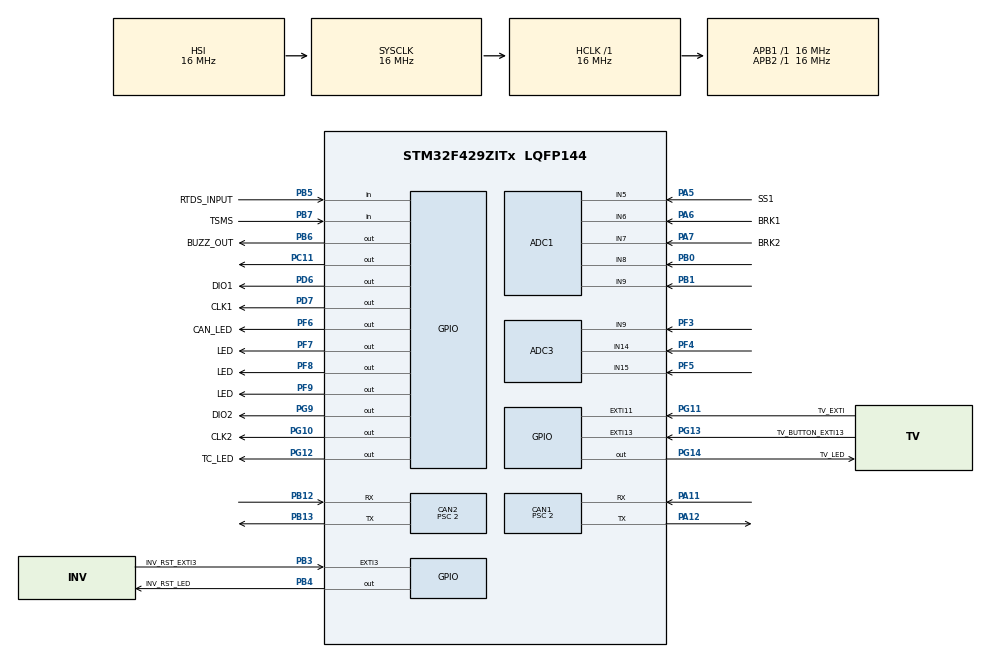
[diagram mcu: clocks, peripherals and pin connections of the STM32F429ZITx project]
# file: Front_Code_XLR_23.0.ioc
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ADC1.Channel-0\#ChannelRegularConversion=ADC_CHANNEL_5
ADC1.InjNumberOfConversion=0
ADC1.NbrOfConversionFlag=1
ADC1.Rank-0\#ChannelRegularConversion=1
ADC1.SamplingTime-0\#ChannelRegularConversion=ADC_SAMPLETIME_3CYCLES
ADC1.master=1
ADC3.Channel-0\#ChannelRegularConversion=ADC_CHANNEL_9
ADC3.NbrOfConversionFlag=1
ADC3.Rank-0\#ChannelRegularConversion=1
ADC3.SamplingTime-0\#ChannelRegularConversion=ADC_SAMPLETIME_3CYCLES
CAN1.AWUM=ENABLE
CAN1.BS1=CAN_BS1_11TQ
CAN1.BS2=CAN_BS2_4TQ
CAN1.CalculateBaudRate=500000
CAN1.CalculateTimeBit=2000
CAN1.CalculateTimeQuantum=125.0
CAN1.NART=ENABLE
CAN1.Prescaler=2
CAN2.AWUM=ENABLE
CAN2.BS1=CAN_BS1_11TQ
CAN2.BS2=CAN_BS2_4TQ
CAN2.CalculateBaudRate=500000
CAN2.CalculateTimeBit=2000
CAN2.CalculateTimeQuantum=125.0
CAN2.NART=ENABLE
CAN2.Prescaler=2
Mcu.Family=STM32F4
Mcu.Name=STM32F429ZITx
Mcu.Package=LQFP144
NVIC.CAN1_RX0_IRQn=true\:1\:0\:true\:false\:true\:true\:true\:true
NVIC.CAN1_RX1_IRQn=true\:1\:0\:true\:false\:true\:true\:true\:true
NVIC.CAN1_SCE_IRQn=true\:1\:0\:true\:false\:true\:true\:true\:true
NVIC.CAN2_RX0_IRQn=true\:0\:0\:false\:false\:true\:true\:true\:true
NVIC.CAN2_RX1_IRQn=true\:0\:0\:false\:false\:true\:true\:true\:true
NVIC.EXTI15_10_IRQn=true\:0\:0\:false\:false\:true\:true\:true\:true
NVIC.EXTI3_IRQn=true\:1\:0\:true\:false\:true\:true\:true\:true
NVIC.PriorityGroup=NVIC_PRIORITYGROUP_4
NVIC.TIM5_IRQn=true\:1\:0\:true\:false\:true\:true\:true\:true
NVIC.TIM6_DAC_IRQn=true\:0\:0\:true\:false\:true\:true\:true\:true
NVIC.TIM7_IRQn=true\:0\:0\:true\:false\:true\:true\:true\:true
PA11.Mode=CAN_Activate
PA11.Signal=CAN1_RX
PA12.Mode=CAN_Activate
PA12.Signal=CAN1_TX
PA5.GPIO_Label=SS1
PA5.Signal=ADCx_IN5
PA6.GPIO_Label=BRK1
PA6.Signal=ADCx_IN6
PA7.GPIO_Label=BRK2
PA7.Signal=ADCx_IN7
PB0.Signal=ADCx_IN8
PB1.Signal=ADCx_IN9
PB12.Mode=CAN_Activate
PB12.Signal=CAN2_RX
PB13.Mode=CAN_Activate
PB13.Signal=CAN2_TX
PB3.GPIO_Label=INV_RST_EXTI3
PB3.GPIO_PuPd=GPIO_PULLDOWN
PB3.Signal=GPXTI3
PB4.GPIO_Label=INV_RST_LED
PB4.Signal=GPIO_Output
PB5.GPIO_Label=RTDS_INPUT
PB5.Signal=GPIO_Input
PB6.GPIO_Label=BUZZ_OUT
PB6.GPIO_ModeDefaultOutputPP=GPIO_MODE_OUTPUT_PP
PB6.GPIO_PuPd=GPIO_PULLDOWN
PB6.Signal=GPIO_Output
PB7.GPIO_Label=TSMS
PB7.Signal=GPIO_Input
PC11.Signal=GPIO_Output
PD6.GPIO_Label=DIO1
PD6.Signal=GPIO_Output
PD7.GPIO_Label=CLK1
PD7.Signal=GPIO_Output
PF3.Mode=IN9
PF3.Signal=ADC3_IN9
PF4.Mode=IN14
PF4.Signal=ADC3_IN14
PF5.Mode=IN15
PF5.Signal=ADC3_IN15
PF6.GPIO_Label=CAN_LED
PF6.Signal=GPIO_Output
PF7.GPIO_Label=LED
PF7.Signal=GPIO_Output
PF8.GPIO_Label=LED
PF8.Signal=GPIO_Output
PF9.GPIO_Label=LED
PF9.Signal=GPIO_Output
PG10.GPIO_Label=CLK2
PG10.Signal=GPIO_Output
PG11.GPIO_Label=TV_EXTI
PG11.GPIO_PuPd=GPIO_PULLDOWN
PG11.Signal=GPXTI11
PG12.GPIO_Label=TC_LED
PG12.Signal=GPIO_Output
PG13.GPIO_Label=TV_BUTTON_EXTI13
PG13.GPIO_PuPd=GPIO_PULLDOWN
PG13.Signal=GPXTI13
PG14.GPIO_Label=TV_LED
PG14.Signal=GPIO_Output
PG9.GPIO_Label=DIO2
PG9.Signal=GPIO_Output
ProjectManager.HeapSize=0x200
ProjectManager.StackSize=0x400
ProjectManager.TargetToolchain=STM32CubeIDE
RCC.AHBFreq_Value=16000000
RCC.APB1Freq_Value=16000000
RCC.APB2Freq_Value=16000000
RCC.CortexFreq_Value=16000000
RCC.HSE_VALUE=25000000
RCC.HSI_VALUE=16000000
RCC.LSE_VALUE=32768
RCC.SYSCLKFreq_VALUE=16000000
RCC.VCOOutputFreq_Value=192000000
SH.ADCx_IN5.0=ADC1_IN5,IN5
SH.ADCx_IN6.0=ADC1_IN6,IN6
SH.ADCx_IN7.0=ADC1_IN7,IN7
SH.ADCx_IN8.0=ADC1_IN8,IN8
SH.ADCx_IN9.0=ADC1_IN9,IN9
TIM5.Period=49
TIM5.Prescaler=15999
TIM6.Period=40000
TIM6.Prescaler=799
TIM7.Period=40000
TIM7.Prescaler=39
VP_TIM5_VS_ClockSourceITR.Mode=TriggerSource_ITR0
VP_TIM6_VS_ClockSourceINT.Mode=Enable_Timer
VP_TIM7_VS_ClockSourceINT.Mode=Enable_Timer
board=custom

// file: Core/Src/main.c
/* USER CODE BEGIN Header */
/**
  ******************************************************************************
  * @file           : main.c
  * @brief          : Main program body
  ******************************************************************************
  * @attention
  *
  * Copyright (c) 2023 STMicroelectronics.
  * All rights reserved.
  *
  * This software is licensed under terms that can be found in the LICENSE file
  * in the root directory of this software component.
  * If no LICENSE file comes with this software, it is provided AS-IS.
  *
  ******************************************************************************
  */
/* USER CODE END Header */
#include "main.h"

ADC_HandleTypeDef hadc1;
ADC_HandleTypeDef hadc3;

CAN_HandleTypeDef hcan1;
CAN_HandleTypeDef hcan2;

TIM_HandleTypeDef htim5;
TIM_HandleTypeDef htim6;
TIM_HandleTypeDef htim7;

/* USER CODE BEGIN PV */
typedef struct {
	CAN_HandleTypeDef* hcan;
    uint32_t id;
    uint8_t data[8];
    uint8_t DLC;

} CanMessage;

CanMessage canMessageQueue[10]; //here you define the size of CAN message you want to send sequentially
uint8_t queueHead = 0;
uint8_t queueTail = 0;
/* USER CODE END PV */

void SystemClock_Config(void);
static void MX_GPIO_Init(void);
static void MX_ADC1_Init(void);
static void MX_ADC3_Init(void);
static void MX_CAN1_Init(void);
static void MX_CAN2_Init(void);
static void MX_TIM6_Init(void);
static void MX_TIM7_Init(void);
static void MX_TIM5_Init(void);
/* USER CODE BEGIN PFP */
void HAL_CAN_RxFifo0MsgPendingCallback(CAN_HandleTypeDef *hcanOne);
void HAL_CAN_RxFifo1MsgPendingCallback(CAN_HandleTypeDef *hcanTwo);
float map(uint16_t value, uint16_t min_val, uint16_t max_val, uint16_t offset);
void implausiblityCheck();
void softBSPD();
void CAN_Tx(CAN_HandleTypeDef* hcan, uint32_t id, uint8_t* data_tx);
void CAN_Start();
void CAN_Transmit_Messages();
void eq_CAN_Tx(CAN_HandleTypeDef* hcan, uint32_t id, uint8_t* data,uint8_t DLC);
void dq_CAN_Tx();
/* USER CODE END PFP */

/* USER CODE BEGIN 0 */
uint32_t ide;
uint32_t temp=0;

uint8_t rtds_temp;
uint8_t tsms = 0;// hard code

uint8_t rtds = 0;
int CNT=0;
int CNT_impl=0;
uint8_t rtds_temp_var=0;
uint8_t clearfault_temp_var=0;

uint8_t clearfault_left=0;//hard code
uint8_t clearfault_right=0;
int c1=0;

uint8_t soft_bspd=0;

uint8_t implausiblity = 0;
uint8_t ip_temp_var=0;
uint8_t temp_var_soft_bspd=0;

uint16_t adc_apps1 = 0, adc_apps2 = 0;
uint16_t range_adc_apps2[] = {1405, 3870};
uint16_t range_adc_apps1[] = {430, 1900};
//uint16_t range_adc_apps2[] = {1405, 3870};
//uint16_t apps_avg;
float soft_bspd_threshold_apps=25.0;;
float app1, app2,apps_avg,torque_demand;

uint16_t adc_brk1=0, adc_brk2=0 , FrontBrakePressure=0 , RearBrakePressure=0;
uint16_t brk_avg;
uint16_t soft_bspd_threshold_brk=1650;

uint16_t adc_steer_sens=0;
uint16_t adc_ir_sens=0;
uint16_t adc_damper_left=0;
uint16_t adc_damper_right=0;

float torque_commanded,torque_commanded_left,torque_commanded_right;
uint16_t Txdata_imp1[4],Txdata_imp2[4];
uint8_t Txdata_state[8];
uint8_t Txdata_inv_rst[8];
short Txdata_control[4];
uint8_t inv_transmit[8];

uint8_t tc=0;
uint8_t tv=0;
uint16_t torque_limit=40;
uint8_t left_inv_transmit[8];
uint8_t right_inv_transmit[8];

uint8_t a=0,b=0,a1=0;
float test=-69.1;

float kp;
float ki;
float steering_degree,steering_rad;
float op=0.0, oi=0;
float o=0.0;
float xvel, yvel;
float compfactor;
float wref=0,zgyro;
float error=0,error_i=0;
long ta=0;
long tb=0;
float k=-0.001; // understeering coeff
float k2=0.0;
float wref2=0.0;

int ishan=0;
CAN_RxHeaderTypeDef RxHeader;
uint8_t RxData[8];
/* USER CODE END 0 */

int main(void)
{

  /* MCU Configuration--------------------------------------------------------*/

  /* Reset of all peripherals, Initializes the Flash interface and the Systick. */
  HAL_Init();

  /* Configure the system clock */
  SystemClock_Config();

  /* Initialize all configured peripherals */
  MX_GPIO_Init();
  MX_ADC1_Init();
  MX_ADC3_Init();
  MX_CAN1_Init();
  MX_CAN2_Init();
  MX_TIM6_Init();
  MX_TIM7_Init();
  MX_TIM5_Init();
  /* USER CODE BEGIN 2 */

 // commenting it to remove can
  CAN_Start();
  HAL_TIM_Base_Start_IT(&htim5);
  /* USER CODE END 2 */

  /* Infinite loop */
  while (1)
  {

    /* USER CODE BEGIN 3 */
	//xvel=4;
	adc_apps1 = ADC_Read(&hadc1, ADC_CHANNEL_8);
	adc_apps2 = ADC_Read(&hadc1, ADC_CHANNEL_9);
	adc_brk1 = ADC_Read(&hadc1,ADC_CHANNEL_7);
	adc_brk2 = ADC_Read(&hadc1,ADC_CHANNEL_6);//front

	adc_damper_left = ADC_Read(&hadc3, ADC_CHANNEL_9);// left damper
	adc_damper_right = ADC_Read(&hadc3, ADC_CHANNEL_14);//right damper
	adc_steer_sens = ADC_Read(&hadc1,ADC_CHANNEL_5);
	adc_ir_sens= ADC_Read(&hadc3,ADC_CHANNEL_15);

	app1 = map(adc_apps1, range_adc_apps1[0], range_adc_apps1[1],100);
	app2 = map(adc_apps2, range_adc_apps2[0], range_adc_apps2[1],100);
	apps_avg = (app1+app2)/2;
	torque_demand=(apps_avg/100)*torque_limit;
	brk_avg = (adc_brk1+adc_brk2)/2;
	FrontBrakePressure = 1 + 0.0225*(adc_brk2 - 372.27);
	RearBrakePressure = 1 + 0.0225*(adc_brk1 - 372.27);
	softBSPD();
	implausiblityCheck();
	steering_degree= ((adc_steer_sens-1888.0)/1144.0)*34.0; // to be transmitted
//	steering_rad= ((adc_steer_sens-2055.0)/1144.0)*34.0*(3.1415/180.0);

//	k2= (xvel*steering_rad-1.6*zgyro)/(1.6*xvel*xvel)-0.006;
	wref2= ((xvel*steering_degree*(0.01745))/(1.6+k2*xvel*xvel));

	//compfactor=1.1197-(0.1202/xvel);
    //compfactor=1;
   // if(compfactor<=1)
	//{
//		compfactor=1;
//	}
//	wref = ((xvel*steering_rad)/(1.6+k*xvel*xvel))*compfactor; // 1.6 is the wheelbase
	tb=ta;
	ta=HAL_GetTick();
	error= wref2- zgyro;
	if (xvel<2){
		xvel=2;
	}
//	//xvel should be transmitted before this
	kp= (556.085-(21.544*xvel))*0.005; // 5.14 at xvel=2
	ki=(1521.88+(75047.39/xvel));   //
	op=kp*error;
	error_i = error_i + error*(ta-tb)/1000;
	oi =ki*error_i ;
	if (zgyro>-0.015 && zgyro<0.015){
		o=0.0;
	}
////	if (oi>7){
////		oi=7;
////	}
////	else if(oi<-7){
////		oi=-7;
////	}
	o =op;
//	//o=5.0;
	if (o>10){
		o=10;
	}
	else if(o<-10) {
		o=-10;
	}
	if (xvel<=6){
		o=0;
	}

//	comment out testing
	if(HAL_GPIO_ReadPin(TSMS_GPIO_Port, TSMS_Pin)==GPIO_PIN_SET){
			tsms=1;
		}else{
			tsms=0;
		}
	if(rtds_temp==0){
		if(HAL_GPIO_ReadPin(GPIOB, RTDS_INPUT_Pin)==GPIO_PIN_SET && (tsms==1) && (clearfault_left==1) && (clearfault_right==1)&&(rtds==0)&&(adc_brk1>500)&&(adc_brk2>500)){
			c1++;
			if(CNT==0){
				HAL_TIM_Base_Start_IT(&htim6);
			}else if(CNT!=0){
				HAL_TIM_Base_Start_IT(&htim6);
				HAL_GPIO_TogglePin(GPIOB, BUZZ_OUT_Pin);
			}
			rtds_temp=1;
		}
	}
//	if(tv==0){
//		if(HAL_GPIO_ReadPin(TV_Enable_GPIO_Port, TV_Enable_Pin)==GPIO_PIN_SET ){
//			tv=1;
//		}
//	}
//	else if(tv==1){
//		if(HAL_GPIO_ReadPin(TV_Enable_GPIO_Port, TV_Enable_Pin)==GPIO_PIN_SET ){
//			tv=0;
//		}
//	}

	if(tv==1){
		HAL_GPIO_WritePin(GPIOG, TV_LED_Pin, GPIO_PIN_SET);
		HAL_GPIO_WritePin(GPIOG, TC_LED_Pin, GPIO_PIN_SET);

	}else{
		HAL_GPIO_WritePin(GPIOG, TV_LED_Pin, GPIO_PIN_RESET);
		HAL_GPIO_WritePin(GPIOG, TC_LED_Pin, GPIO_PIN_RESET);
	}

	if(tsms==0){
		rtds=0;
		rtds_temp=0;
		clearfault_left=0;
		clearfault_right=0;
	}
//	rtds=1;
	Txdata_imp1[0]=(uint16_t)apps_avg;
	Txdata_imp1[1]=FrontBrakePressure;
	Txdata_imp1[2]=RearBrakePressure;
	Txdata_imp1[3]=(short)(steering_degree*10);

	Txdata_imp2[0]=adc_damper_right;
	Txdata_imp2[1]=adc_damper_left;
	Txdata_imp2[3]=adc_ir_sens;

	Txdata_state[0]=soft_bspd;
	Txdata_state[1]=implausiblity;
	Txdata_state[2]=tsms;
	Txdata_state[3]=rtds;
	Txdata_state[4]=tc;
	Txdata_state[5]=tv;

	Txdata_control[0]=(short)(op*100);
	Txdata_control[1]=(short)(oi*100);
	Txdata_control[2]=(short)(error*100);
	Txdata_control[3]=(short)(error_i*100);
//	Txdata_control[1]=oi;

	if(tv==0){
		torque_commanded_left=torque_commanded;
		torque_commanded_right=torque_commanded;
	}else if(tv==1){
		torque_commanded_left=torque_commanded+o*0.5;
		torque_commanded_right=torque_commanded-o*0.5;
	}
	if (torque_commanded_left>(float)torque_limit){
		torque_commanded_left=(float)torque_limit;
	}
	else if (torque_commanded_left<0.00){
		torque_commanded_left=0.00;
	}
	if (torque_commanded_right>(float)torque_limit){
		torque_commanded_right=(float)torque_limit;
	}
	else if (torque_commanded_right<0.00){
		torque_commanded_right=0.00;
	}
	a++;
  }

  /* USER CODE END 3 */
}

void SystemClock_Config(void)
{
  RCC_OscInitTypeDef RCC_OscInitStruct = {0};
  RCC_ClkInitTypeDef RCC_ClkInitStruct = {0};

  /** Configure the main internal regulator output voltage
  */
  __HAL_RCC_PWR_CLK_ENABLE();
  __HAL_PWR_VOLTAGESCALING_CONFIG(PWR_REGULATOR_VOLTAGE_SCALE3);

  /** Initializes the RCC Oscillators according to the specified parameters
  * in the RCC_OscInitTypeDef structure.
  */
  RCC_OscInitStruct.OscillatorType = RCC_OSCILLATORTYPE_HSI;
  RCC_OscInitStruct.HSIState = RCC_HSI_ON;
  RCC_OscInitStruct.HSICalibrationValue = RCC_HSICALIBRATION_DEFAULT;
  RCC_OscInitStruct.PLL.PLLState = RCC_PLL_NONE;
  if (HAL_RCC_OscConfig(&RCC_OscInitStruct) != HAL_OK)
  {
    Error_Handler();
  }

  /** Initializes the CPU, AHB and APB buses clocks
  */
  RCC_ClkInitStruct.ClockType = RCC_CLOCKTYPE_HCLK|RCC_CLOCKTYPE_SYSCLK
                              |RCC_CLOCKTYPE_PCLK1|RCC_CLOCKTYPE_PCLK2;
  RCC_ClkInitStruct.SYSCLKSource = RCC_SYSCLKSOURCE_HSI;
  RCC_ClkInitStruct.AHBCLKDivider = RCC_SYSCLK_DIV1;
  RCC_ClkInitStruct.APB1CLKDivider = RCC_HCLK_DIV1;
  RCC_ClkInitStruct.APB2CLKDivider = RCC_HCLK_DIV1;

  if (HAL_RCC_ClockConfig(&RCC_ClkInitStruct, FLASH_LATENCY_0) != HAL_OK)
  {
    Error_Handler();
  }
}

static void MX_ADC1_Init(void)
{

  ADC_ChannelConfTypeDef sConfig = {0};

  /** Configure the global features of the ADC (Clock, Resolution, Data Alignment and number of conversion)
  */
  hadc1.Instance = ADC1;
  hadc1.Init.ClockPrescaler = ADC_CLOCK_SYNC_PCLK_DIV2;
  hadc1.Init.Resolution = ADC_RESOLUTION_12B;
  hadc1.Init.ScanConvMode = DISABLE;
  hadc1.Init.ContinuousConvMode = DISABLE;
  hadc1.Init.DiscontinuousConvMode = DISABLE;
  hadc1.Init.ExternalTrigConvEdge = ADC_EXTERNALTRIGCONVEDGE_NONE;
  hadc1.Init.ExternalTrigConv = ADC_SOFTWARE_START;
  hadc1.Init.DataAlign = ADC_DATAALIGN_RIGHT;
  hadc1.Init.NbrOfConversion = 1;
  hadc1.Init.DMAContinuousRequests = DISABLE;
  hadc1.Init.EOCSelection = ADC_EOC_SINGLE_CONV;
  if (HAL_ADC_Init(&hadc1) != HAL_OK)
  {
    Error_Handler();
  }

  /** Configure for the selected ADC regular channel its corresponding rank in the sequencer and its sample time.
  */
  sConfig.Channel = ADC_CHANNEL_5;
  sConfig.Rank = 1;
  sConfig.SamplingTime = ADC_SAMPLETIME_3CYCLES;
  if (HAL_ADC_ConfigChannel(&hadc1, &sConfig) != HAL_OK)
  {
    Error_Handler();
  }

}

static void MX_ADC3_Init(void)
{

  ADC_ChannelConfTypeDef sConfig = {0};

  /** Configure the global features of the ADC (Clock, Resolution, Data Alignment and number of conversion)
  */
  hadc3.Instance = ADC3;
  hadc3.Init.ClockPrescaler = ADC_CLOCK_SYNC_PCLK_DIV2;
  hadc3.Init.Resolution = ADC_RESOLUTION_12B;
  hadc3.Init.ScanConvMode = DISABLE;
  hadc3.Init.ContinuousConvMode = DISABLE;
  hadc3.Init.DiscontinuousConvMode = DISABLE;
  hadc3.Init.ExternalTrigConvEdge = ADC_EXTERNALTRIGCONVEDGE_NONE;
  hadc3.Init.ExternalTrigConv = ADC_SOFTWARE_START;
  hadc3.Init.DataAlign = ADC_DATAALIGN_RIGHT;
  hadc3.Init.NbrOfConversion = 1;
  hadc3.Init.DMAContinuousRequests = DISABLE;
  hadc3.Init.EOCSelection = ADC_EOC_SINGLE_CONV;
  if (HAL_ADC_Init(&hadc3) != HAL_OK)
  {
    Error_Handler();
  }

  /** Configure for the selected ADC regular channel its corresponding rank in the sequencer and its sample time.
  */
  sConfig.Channel = ADC_CHANNEL_9;
  sConfig.Rank = 1;
  sConfig.SamplingTime = ADC_SAMPLETIME_3CYCLES;
  if (HAL_ADC_ConfigChannel(&hadc3, &sConfig) != HAL_OK)
  {
    Error_Handler();
  }

}

static void MX_CAN1_Init(void)
{

  hcan1.Instance = CAN1;
  hcan1.Init.Prescaler = 2;
  hcan1.Init.Mode = CAN_MODE_NORMAL;
  hcan1.Init.SyncJumpWidth = CAN_SJW_1TQ;
  hcan1.Init.TimeSeg1 = CAN_BS1_11TQ;
  hcan1.Init.TimeSeg2 = CAN_BS2_4TQ;
  hcan1.Init.TimeTriggeredMode = DISABLE;
  hcan1.Init.AutoBusOff = DISABLE;
  hcan1.Init.AutoWakeUp = ENABLE;
  hcan1.Init.AutoRetransmission = ENABLE;
  hcan1.Init.ReceiveFifoLocked = DISABLE;
  hcan1.Init.TransmitFifoPriority = DISABLE;
  if (HAL_CAN_Init(&hcan1) != HAL_OK)
  {
    Error_Handler();
  }

}

static void MX_CAN2_Init(void)
{

  hcan2.Instance = CAN2;
  hcan2.Init.Prescaler = 2;
  hcan2.Init.Mode = CAN_MODE_NORMAL;
  hcan2.Init.SyncJumpWidth = CAN_SJW_1TQ;
  hcan2.Init.TimeSeg1 = CAN_BS1_11TQ;
  hcan2.Init.TimeSeg2 = CAN_BS2_4TQ;
  hcan2.Init.TimeTriggeredMode = DISABLE;
  hcan2.Init.AutoBusOff = DISABLE;
  hcan2.Init.AutoWakeUp = ENABLE;
  hcan2.Init.AutoRetransmission = ENABLE;
  hcan2.Init.ReceiveFifoLocked = DISABLE;
  hcan2.Init.TransmitFifoPriority = DISABLE;
  if (HAL_CAN_Init(&hcan2) != HAL_OK)
  {
    Error_Handler();
  }

}

static void MX_TIM5_Init(void)
{

  /* USER CODE BEGIN TIM5_Init 0 */
																			// Using for CANTx transmission frequency, Delay of 30msec
  /* USER CODE END TIM5_Init 0 */

  TIM_SlaveConfigTypeDef sSlaveConfig = {0};
  TIM_MasterConfigTypeDef sMasterConfig = {0};

  htim5.Instance = TIM5;
  htim5.Init.Prescaler = 15999;
  htim5.Init.CounterMode = TIM_COUNTERMODE_UP;
  htim5.Init.Period = 49;
  htim5.Init.ClockDivision = TIM_CLOCKDIVISION_DIV1;
  htim5.Init.AutoReloadPreload = TIM_AUTORELOAD_PRELOAD_DISABLE;
  if (HAL_TIM_Base_Init(&htim5) != HAL_OK)
  {
    Error_Handler();
  }
  sSlaveConfig.SlaveMode = TIM_SLAVEMODE_DISABLE;
  sSlaveConfig.InputTrigger = TIM_TS_ITR0;
  if (HAL_TIM_SlaveConfigSynchro(&htim5, &sSlaveConfig) != HAL_OK)
  {
    Error_Handler();
  }
  sMasterConfig.MasterOutputTrigger = TIM_TRGO_RESET;
  sMasterConfig.MasterSlaveMode = TIM_MASTERSLAVEMODE_DISABLE;
  if (HAL_TIMEx_MasterConfigSynchronization(&htim5, &sMasterConfig) != HAL_OK)
  {
    Error_Handler();
  }

}

static void MX_TIM6_Init(void)
{

  /* USER CODE BEGIN TIM6_Init 0 */
																// Using for RTDS, Delay of 2sec
  /* USER CODE END TIM6_Init 0 */

  TIM_MasterConfigTypeDef sMasterConfig = {0};

  htim6.Instance = TIM6;
  htim6.Init.Prescaler = 799;
  htim6.Init.CounterMode = TIM_COUNTERMODE_UP;
  htim6.Init.Period = 40000;
  htim6.Init.AutoReloadPreload = TIM_AUTORELOAD_PRELOAD_DISABLE;
  if (HAL_TIM_Base_Init(&htim6) != HAL_OK)
  {
    Error_Handler();
  }
  sMasterConfig.MasterOutputTrigger = TIM_TRGO_RESET;
  sMasterConfig.MasterSlaveMode = TIM_MASTERSLAVEMODE_DISABLE;
  if (HAL_TIMEx_MasterConfigSynchronization(&htim6, &sMasterConfig) != HAL_OK)
  {
    Error_Handler();
  }

}

static void MX_TIM7_Init(void)
{

  /* USER CODE BEGIN TIM7_Init 0 */
																// Using for implausibility function, Delay of 100msec
  /* USER CODE END TIM7_Init 0 */

  TIM_MasterConfigTypeDef sMasterConfig = {0};

  htim7.Instance = TIM7;
  htim7.Init.Prescaler = 39;
  htim7.Init.CounterMode = TIM_COUNTERMODE_UP;
  htim7.Init.Period = 40000;
  htim7.Init.AutoReloadPreload = TIM_AUTORELOAD_PRELOAD_DISABLE;
  if (HAL_TIM_Base_Init(&htim7) != HAL_OK)
  {
    Error_Handler();
  }
  sMasterConfig.MasterOutputTrigger = TIM_TRGO_RESET;
  sMasterConfig.MasterSlaveMode = TIM_MASTERSLAVEMODE_DISABLE;
  if (HAL_TIMEx_MasterConfigSynchronization(&htim7, &sMasterConfig) != HAL_OK)
  {
    Error_Handler();
  }

}

static void MX_GPIO_Init(void)
{
  GPIO_InitTypeDef GPIO_InitStruct = {0};

  /* GPIO Ports Clock Enable */
  __HAL_RCC_GPIOF_CLK_ENABLE();
  __HAL_RCC_GPIOA_CLK_ENABLE();
  __HAL_RCC_GPIOB_CLK_ENABLE();
  __HAL_RCC_GPIOC_CLK_ENABLE();
  __HAL_RCC_GPIOD_CLK_ENABLE();
  __HAL_RCC_GPIOG_CLK_ENABLE();

  /*Configure GPIO pin Output Level */
  HAL_GPIO_WritePin(GPIOF, CAN_LED_Pin|LED_Pin|LEDF8_Pin|LEDF9_Pin, GPIO_PIN_RESET);

  /*Configure GPIO pin Output Level */
  HAL_GPIO_WritePin(GPIOC, GPIO_PIN_11, GPIO_PIN_RESET);

  /*Configure GPIO pin Output Level */
  HAL_GPIO_WritePin(GPIOD, DIO1_Pin|CLK1_Pin, GPIO_PIN_RESET);

  /*Configure GPIO pin Output Level */
  HAL_GPIO_WritePin(GPIOG, DIO2_Pin|CLK2_Pin|TC_LED_Pin|TV_LED_Pin, GPIO_PIN_RESET);

  /*Configure GPIO pin Output Level */
  HAL_GPIO_WritePin(GPIOB, INV_RST_LED_Pin|BUZZ_OUT_Pin, GPIO_PIN_RESET);

  /*Configure GPIO pins : CAN_LED_Pin LED_Pin LEDF8_Pin LEDF9_Pin */
  GPIO_InitStruct.Pin = CAN_LED_Pin|LED_Pin|LEDF8_Pin|LEDF9_Pin;
  GPIO_InitStruct.Mode = GPIO_MODE_OUTPUT_PP;
  GPIO_InitStruct.Pull = GPIO_NOPULL;
  GPIO_InitStruct.Speed = GPIO_SPEED_FREQ_LOW;
  HAL_GPIO_Init(GPIOF, &GPIO_InitStruct);

  /*Configure GPIO pin : PC11 */
  GPIO_InitStruct.Pin = GPIO_PIN_11;
  GPIO_InitStruct.Mode = GPIO_MODE_OUTPUT_PP;
  GPIO_InitStruct.Pull = GPIO_NOPULL;
  GPIO_InitStruct.Speed = GPIO_SPEED_FREQ_LOW;
  HAL_GPIO_Init(GPIOC, &GPIO_InitStruct);

  /*Configure GPIO pins : DIO1_Pin CLK1_Pin */
  GPIO_InitStruct.Pin = DIO1_Pin|CLK1_Pin;
  GPIO_InitStruct.Mode = GPIO_MODE_OUTPUT_PP;
  GPIO_InitStruct.Pull = GPIO_NOPULL;
  GPIO_InitStruct.Speed = GPIO_SPEED_FREQ_LOW;
  HAL_GPIO_Init(GPIOD, &GPIO_InitStruct);

  /*Configure GPIO pins : DIO2_Pin CLK2_Pin TC_LED_Pin TV_LED_Pin */
  GPIO_InitStruct.Pin = DIO2_Pin|CLK2_Pin|TC_LED_Pin|TV_LED_Pin;
  GPIO_InitStruct.Mode = GPIO_MODE_OUTPUT_PP;
  GPIO_InitStruct.Pull = GPIO_NOPULL;
  GPIO_InitStruct.Speed = GPIO_SPEED_FREQ_LOW;
  HAL_GPIO_Init(GPIOG, &GPIO_InitStruct);

  /*Configure GPIO pins : TV_EXTI_Pin TV_BUTTON_EXTI13_Pin */
  GPIO_InitStruct.Pin = TV_EXTI_Pin|TV_BUTTON_EXTI13_Pin;
  GPIO_InitStruct.Mode = GPIO_MODE_IT_RISING;
  GPIO_InitStruct.Pull = GPIO_PULLDOWN;
  HAL_GPIO_Init(GPIOG, &GPIO_InitStruct);

  /*Configure GPIO pin : INV_RST_EXTI3_Pin */
  GPIO_InitStruct.Pin = INV_RST_EXTI3_Pin;
  GPIO_InitStruct.Mode = GPIO_MODE_IT_RISING;
  GPIO_InitStruct.Pull = GPIO_PULLDOWN;
  HAL_GPIO_Init(INV_RST_EXTI3_GPIO_Port, &GPIO_InitStruct);

  /*Configure GPIO pin : INV_RST_LED_Pin */
  GPIO_InitStruct.Pin = INV_RST_LED_Pin;
  GPIO_InitStruct.Mode = GPIO_MODE_OUTPUT_PP;
  GPIO_InitStruct.Pull = GPIO_NOPULL;
  GPIO_InitStruct.Speed = GPIO_SPEED_FREQ_LOW;
  HAL_GPIO_Init(INV_RST_LED_GPIO_Port, &GPIO_InitStruct);

  /*Configure GPIO pins : RTDS_INPUT_Pin TSMS_Pin */
  GPIO_InitStruct.Pin = RTDS_INPUT_Pin|TSMS_Pin;
  GPIO_InitStruct.Mode = GPIO_MODE_INPUT;
  GPIO_InitStruct.Pull = GPIO_NOPULL;
  HAL_GPIO_Init(GPIOB, &GPIO_InitStruct);

  /*Configure GPIO pin : BUZZ_OUT_Pin */
  GPIO_InitStruct.Pin = BUZZ_OUT_Pin;
  GPIO_InitStruct.Mode = GPIO_MODE_OUTPUT_PP;
  GPIO_InitStruct.Pull = GPIO_PULLDOWN;
  GPIO_InitStruct.Speed = GPIO_SPEED_FREQ_LOW;
  HAL_GPIO_Init(BUZZ_OUT_GPIO_Port, &GPIO_InitStruct);

  /* EXTI interrupt init*/
  HAL_NVIC_SetPriority(EXTI3_IRQn, 1, 0);
  HAL_NVIC_EnableIRQ(EXTI3_IRQn);

  HAL_NVIC_SetPriority(EXTI15_10_IRQn, 0, 0);
  HAL_NVIC_EnableIRQ(EXTI15_10_IRQn);

}

/* USER CODE BEGIN 4 */
void CAN_Start(){

	CAN_FilterTypeDef filter1, filter2;

	filter1.FilterBank = 0;

	filter1.FilterActivation = ENABLE;
	filter1.FilterFIFOAssignment = CAN_FILTER_FIFO0;

	filter1.FilterScale = CAN_FILTERSCALE_32BIT;
	filter1.FilterMode = CAN_FILTERMODE_IDMASK;

	filter1.FilterMaskIdHigh = 0x0000;
	filter1.FilterMaskIdLow  = 0x0000;

	filter1.FilterIdLow  = 0x0000;
	filter1.FilterIdHigh = 0x0000;

	filter1.SlaveStartFilterBank = 14;

	filter2.FilterBank = 15;

	filter2.FilterActivation = ENABLE;
	filter2.FilterFIFOAssignment = CAN_FILTER_FIFO1;

	filter2.FilterScale = CAN_FILTERSCALE_32BIT;
	filter2.FilterMode = CAN_FILTERMODE_IDMASK;

	filter2.FilterMaskIdHigh = 0x0000;
	filter2.FilterMaskIdLow  = 0x0000;

	filter2.FilterIdLow  = 0x0000;
	filter2.FilterIdHigh = 0x0000;

	filter2.SlaveStartFilterBank = 14;

	if (HAL_CAN_ConfigFilter(&hcan1, &filter1) != HAL_OK) { // Configuring CAN line according to Filter values
		Error_Handler();
	}
	if (HAL_CAN_ConfigFilter(&hcan2, &filter2)!= HAL_OK){
		Error_Handler();
	}

	if (HAL_CAN_Start(&hcan1) != HAL_OK) { // CAN start
		Error_Handler();
	}

	if(HAL_CAN_Start(&hcan2) != HAL_OK){
		Error_Handler();
	}

	if(HAL_CAN_ActivateNotification(&hcan1, CAN_IT_RX_FIFO0_MSG_PENDING | CAN_IT_RX_FIFO0_FULL | CAN_IT_RX_FIFO0_OVERRUN) != HAL_OK){ // Interrupt activation
		Error_Handler();
	}

	if(HAL_CAN_ActivateNotification(&hcan2, CAN_IT_RX_FIFO1_MSG_PENDING | CAN_IT_RX_FIFO1_FULL | CAN_IT_RX_FIFO1_OVERRUN ) != HAL_OK){ // Interrupt activation
			Error_Handler();
		}
}

void CAN_Tx(CAN_HandleTypeDef* hcan, uint32_t id, uint8_t* data_tx){
	    CAN_TxHeaderTypeDef TxHeader;
		uint32_t Txmailbox = 0x00U;
		TxHeader.DLC=8;
	    TxHeader.StdId=id; // 11 bits
	    TxHeader.IDE=CAN_ID_STD;
	    TxHeader.RTR=CAN_RTR_DATA;

		if(HAL_CAN_GetTxMailboxesFreeLevel(hcan)>0){
			HAL_GPIO_TogglePin(GPIOF, CAN_LED_Pin);
			if (HAL_CAN_AddTxMessage(hcan, &TxHeader, data_tx, &Txmailbox)!= HAL_OK){
				Error_Handler();
			}
		}
}

void HAL_CAN_RxFifo0MsgPendingCallback(CAN_HandleTypeDef *hcan){
//	CAN_RxHeaderTypeDef RxHeader;
//	uint8_t RxData[8];
	HAL_CAN_GetRxMessage(&hcan1, CAN_RX_FIFO0, &RxHeader,RxData);
	if(RxHeader.StdId==0x139){
		//HAL_GPIO_TogglePin(GPIOF, LEDF9_Pin);
		xvel=((float)(((uint16_t)RxData[1]<<8)|RxData[0]))*0.01;
	}
	if(RxHeader.StdId==0x122){
		zgyro=(float)(((uint16_t)RxData[5]<<8)|RxData[4])*0.001;
	}
}
float map(uint16_t value, uint16_t min_val, uint16_t max_val, uint16_t offset){
	float temp = (((float)(value - (min_val+offset))) / ((float)((max_val-offset) - (min_val+offset)))) * 100.00;
		if (temp < 0.00){
			return 0.00;
		}
		else if (temp > 100.00){
			return 100.00;
		}
		else {
			return temp;
		}
	}

void implausiblityCheck(){
	if(app1-app2>10 || app2-app1>10){
		if(CNT_impl==0){
			HAL_TIM_Base_Start_IT(&htim7);
		}else if(CNT_impl!=1){
			HAL_TIM_Base_Start_IT(&htim7);
		}
	}
}

void softBSPD(){
	if(adc_brk1>soft_bspd_threshold_brk||adc_brk2>soft_bspd_threshold_brk){
		if(apps_avg>soft_bspd_threshold_apps){
			temp_var_soft_bspd=1;
		}
	}
	if(temp_var_soft_bspd==0){
		torque_commanded=torque_demand;
	}else if(temp_var_soft_bspd==1){
		torque_commanded=0;
		soft_bspd=1;
		HAL_GPIO_TogglePin(GPIOF, LEDF9_Pin);
	}
	if((temp_var_soft_bspd==1) && (apps_avg<5)){
		torque_commanded=torque_demand;
		soft_bspd=0;
		temp_var_soft_bspd=0;
		HAL_GPIO_TogglePin(GPIOF, LEDF9_Pin);
	}
}

void HAL_GPIO_EXTI_Callback(uint16_t GPIO_Pin){
	if(GPIO_Pin == TV_BUTTON_EXTI13_Pin){
		if(HAL_GPIO_ReadPin(GPIOG, TV_BUTTON_EXTI13_Pin )&& tsms==1){
			clearfault_temp_var=1;
		}
	}
//	if(GPIO_Pin==RTDS_EXTI5_Pin){
//		c1++;
//		if(HAL_GPIO_ReadPin(RTDS_EXTI5_GPIO_Port, RTDS_EXTI5_Pin)&& (tsms==1) && (clearfault_left==1) && (clearfault_right==1)&&(rtds==0)&&(adc_brk1>500)&&(adc_brk2>500)){
//			if(CNT==0){
//				HAL_TIM_Base_Start_IT(&htim6);
//			}else if(CNT!=0){
//				HAL_TIM_Base_Start_IT(&htim6);
//				HAL_GPIO_TogglePin(GPIOB, BUZZ_OUT_Pin);
//			}
//		}
//	}
//	if(GPIO_Pin==TV_BUTTON_EXTI13_Pin){
//		if(HAL_GPIO_ReadPin(GPIOG, TV_BUTTON_EXTI13_Pin)){
//			tv=1;
//		}
//	}
	if(GPIO_Pin==TV_EXTI_Pin){
		if(HAL_GPIO_ReadPin(GPIOG, TV_EXTI_Pin)){
			if(tv==0){
				tv=1;
			}else if(tv==1){
				tv=0;
			}
			c1++;
//			HAL_GPIO_TogglePin(INV_RST_LED_GPIO_Port, INV_RST_LED_Pin);
		}
	}
}
void HAL_TIM_PeriodElapsedCallback(TIM_HandleTypeDef *htim){
	if(htim==&htim6){
		if(CNT==0){
			if(rtds_temp_var==0){
				HAL_GPIO_TogglePin(GPIOB, BUZZ_OUT_Pin);
				rtds_temp_var=1;
			}else if(rtds_temp_var==1){
				HAL_GPIO_TogglePin(GPIOB, BUZZ_OUT_Pin);
				HAL_TIM_Base_Stop_IT(&htim6);
				rtds=1;
				rtds_temp_var=0;
			}
			CNT=1;
		}else if(CNT!=0){
			HAL_GPIO_TogglePin(GPIOB, BUZZ_OUT_Pin);
			HAL_TIM_Base_Stop_IT(&htim6);
			rtds=1;
		}
	}
	if(htim==&htim7){
		if(CNT_impl==0){
			if(ip_temp_var==0){
				ip_temp_var=1;
			}else if(ip_temp_var==1){
				HAL_TIM_Base_Stop_IT(&htim7);
				if(app1-app2>10 || app2-app1>10){
					implausiblity=1;
					rtds=0;
				}
			}
			CNT_impl=1;
		}else if(CNT!=0){
			HAL_TIM_Base_Stop_IT(&htim7);
			if(app1-app2>10 || app2-app1>10){
				implausiblity=1;
				rtds=0;
			}
		}
	}
	if(htim==&htim5){
		CAN_Transmit_Messages();
	}
}
void CAN_Transmit_Messages(){

	if(clearfault_temp_var==1){
			Txdata_inv_rst[0]=20;
			Txdata_inv_rst[1]=0;
			Txdata_inv_rst[2]=1;
			Txdata_inv_rst[3]=0;
			Txdata_inv_rst[4]=0;
			Txdata_inv_rst[5]=0;
//			CAN_Tx(&hcan1,0x0C1,Txdata_inv_rst);
//			CAN_Tx(&hcan1,0x0F1,Txdata_inv_rst);
			eq_CAN_Tx(&hcan1,0x0C1,Txdata_inv_rst,6);
			eq_CAN_Tx(&hcan1,0x0F1,Txdata_inv_rst,6);
			clearfault_temp_var=0;
			clearfault_left=1;
			clearfault_right=1;
	}

	if(tsms==1&&rtds==0&&clearfault_left==1&&clearfault_right==1){
//	if(tsms==1&&clearfault_left==1&&clearfault_right==1&&ishan!=3){
			left_inv_transmit[0]=0;
			left_inv_transmit[1]=0;
			left_inv_transmit[2]=0;
			left_inv_transmit[3]=0;
			left_inv_transmit[4]=1;
			left_inv_transmit[5]=0;
			left_inv_transmit[6]=((torque_limit)*10)%256;
			left_inv_transmit[7]=((torque_limit)*10)/256;

			right_inv_transmit[0]=0;
			right_inv_transmit[1]=0;
			right_inv_transmit[2]=0;
			right_inv_transmit[3]=0;
			right_inv_transmit[4]=0;
			right_inv_transmit[5]=0;
			right_inv_transmit[6]=((torque_limit)*10)%256;
			right_inv_transmit[7]=((torque_limit)*10)/256;
//			CAN_Tx(&hcan1,0x0F0,left_inv_transmit);
			eq_CAN_Tx(&hcan1,0x0F0,left_inv_transmit,8);
			a++;

//			CAN_Tx(&hcan1,0x0C0,right_inv_transmit);
			eq_CAN_Tx(&hcan1,0x0C0,right_inv_transmit,8);
			b++;
	}else if(tsms==1&&rtds==1){
			left_inv_transmit[0]=(int)((torque_commanded_left)*10)%256;
			left_inv_transmit[1]=(int)((torque_commanded_left)*10)/256;;
			left_inv_transmit[2]=0;
			left_inv_transmit[3]=0;
			left_inv_transmit[4]=1;
			left_inv_transmit[5]=1;
			left_inv_transmit[6]=((torque_limit)*10)%256;
			left_inv_transmit[7]=((torque_limit)*10)/256;

			right_inv_transmit[0]=(int)((torque_commanded_right)*10)%256;;
			right_inv_transmit[1]=(int)((torque_commanded_right)*10)/256;;
			right_inv_transmit[2]=0;
			right_inv_transmit[3]=0;
			right_inv_transmit[4]=0;
			right_inv_transmit[5]=1;
			right_inv_transmit[6]=((torque_limit)*10)%256;
			right_inv_transmit[7]=((torque_limit)*10)/256;
//			CAN_Tx(&hcan1,0x0F0,left_inv_transmit);
			eq_CAN_Tx(&hcan1,0x0F0,left_inv_transmit,8);
//			CAN_Tx(&hcan1,0x0C0,right_inv_transmit);
			eq_CAN_Tx(&hcan1,0x0C0,right_inv_transmit,8);
	}
	eq_CAN_Tx(&hcan1,0x1,Txdata_imp1,8);
	eq_CAN_Tx(&hcan1,0x2,Txdata_imp2,6);
	eq_CAN_Tx(&hcan1,0x3,Txdata_state,8);
	eq_CAN_Tx(&hcan1,0x4,Txdata_control,8);
	while(1)
	    {
	       if ((hcan1.Instance->TSR & CAN_TSR_TME0) || (hcan1.Instance->TSR & CAN_TSR_TME1) || (hcan1.Instance->TSR & CAN_TSR_TME2))  // checking empty CAN Tx mailboxes for can2 replace hcan1 with hcan2
	       {
	        dq_CAN_Tx();
	        if (queueHead == queueTail) {
	                // Queue is empty, nothing to dequeue
	                break; // once queue empty no need for infinite queue
	       }
	    }
	}
}
void eq_CAN_Tx(CAN_HandleTypeDef* hcan, uint32_t id, uint8_t* data,uint8_t len) {
    // Check if queue is full
    if ((queueHead + 1) % 10 == queueTail) {
        // Queue is full, discard new message
        return;
    }

    // Enqueue message
    canMessageQueue[queueHead].id = id;
    for (int i = 0; i < len; i++) {
        canMessageQueue[queueHead].data[i] = data[i];
    }
    canMessageQueue[queueHead].hcan = hcan;
    queueHead = (queueHead + 1) % 10;
}

void dq_CAN_Tx(void) {
    // Check if queue is empty
    if (queueHead == queueTail) {
        // Queue is empty, nothing to dequeue
        return;
    }

    // Transmit message at the head of the queue
    CanMessage* message = &canMessageQueue[queueTail];

    CAN_Tx(message -> hcan,message->id,message->data);
    // Update queue tail
    queueTail = (queueTail + 1) % 10;
}
/* USER CODE END 4 */

void Error_Handler(void)
{
  __disable_irq();
  while (1)
  {
  }
}
